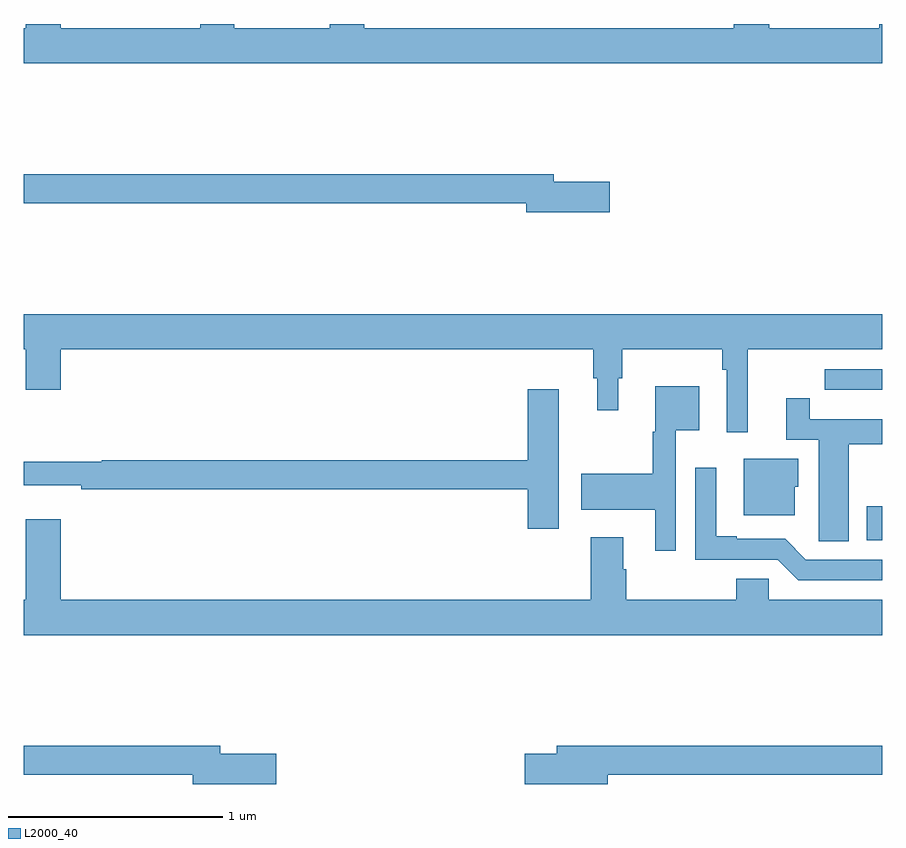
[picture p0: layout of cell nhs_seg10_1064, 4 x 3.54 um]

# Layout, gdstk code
import gdstk
lib = gdstk.Library(unit=1e-6, precision=1e-09)
def R(c, l, rs):  # rectangles x0, y0, x1, y1
    for r in rs: c.add(gdstk.rectangle(r[:2], r[2:], *l))
def P(c, l, *ps):  # polygons
    for p in ps: c.add(gdstk.Polygon(p, *l))
L2000_40 = (2000, 40)

nhs_seg10_1064 = lib.new_cell('nhs_seg10_1064')
R(nhs_seg10_1064, L2000_40, [(168.929,1298.093,169,1298.253)])
P(nhs_seg10_1064, L2000_40, [(169,1300.5),(168.986,1300.5),(168.986,1300.48),(168.473,1300.48),(168.473,1300.5),(168.308,1300.5),(168.308,1300.48),(166.586,1300.48),(166.586,1300.5),(166.426,1300.5),(166.426,1300.48),(165.981,1300.48),(165.981,1300.5),(165.821,1300.5),(165.821,1300.48),(165.172,1300.48),(165.172,1300.5),(165.008,1300.5),(165.008,1300.48),(165,1300.48),(165,1300.316),(169,1300.316)],
  [(167.731,1299.764),(167.47,1299.764),(167.47,1299.8),(165,1299.8),(165,1299.664),(167.342,1299.664),(167.342,1299.622),(167.731,1299.622)],
  [(168.374,1298.984),(169,1298.984),(169,1299.148),(165,1299.148),(165,1298.984),(165.008,1298.984),(165.008,1298.796),(165.172,1298.796),(165.172,1298.984),(167.653,1298.984),(167.653,1298.85),(167.672,1298.85),(167.672,1298.7),(167.77,1298.7),(167.77,1298.85),(167.789,1298.85),(167.789,1298.984),(168.256,1298.984),(168.256,1298.888),(168.276,1298.888),(168.276,1298.598),(168.374,1298.598)],
  [(169,1298.892),(168.732,1298.892),(168.732,1298.796),(168.844,1298.796),(168.844,1298.795),(169,1298.795)],
  [(168.039,1298.606),(168.148,1298.606),(168.148,1298.812),(167.942,1298.812),(167.942,1298.6),(167.931,1298.6),(167.931,1298.403),(167.598,1298.403),(167.598,1298.237),(167.942,1298.237),(167.942,1298.046),(168.039,1298.046)],
  [(167.494,1298.797),(167.348,1298.797),(167.348,1298.468),(165.364,1298.468),(165.364,1298.461),(165,1298.461),(165,1298.351),(165.268,1298.351),(165.268,1298.332),(167.348,1298.332),(167.348,1298.148),(167.494,1298.148)],
  [(168.844,1298.542),(169,1298.542),(169,1298.658),(168.662,1298.658),(168.662,1298.755),(168.554,1298.755),(168.554,1298.562),(168.704,1298.562),(168.704,1298.2),(168.705,1298.2),(168.705,1298.089),(168.844,1298.089)],
  [(168.592,1298.343),(168.61,1298.343),(168.61,1298.473),(168.356,1298.473),(168.356,1298.21),(168.592,1298.21)],
  [(169,1298.004),(168.645,1298.004),(168.549,1298.1),(168.322,1298.1),(168.322,1298.113),(168.226,1298.113),(168.226,1298.431),(168.129,1298.431),(168.129,1298.004),(168.513,1298.004),(168.609,1297.908),(169,1297.908)],
  [(169,1297.816),(168.471,1297.816),(168.471,1297.914),(168.32,1297.914),(168.32,1297.816),(167.807,1297.816),(167.807,1297.958),(167.794,1297.958),(167.794,1298.107),(167.642,1298.107),(167.642,1297.816),(165.172,1297.816),(165.172,1298.191),(165.008,1298.191),(165.008,1297.816),(165,1297.816),(165,1297.652),(169,1297.652)],
  [(166.177,1297.1),(165.916,1297.1),(165.916,1297.136),(165,1297.136),(165,1297),(165.788,1297),(165.788,1296.958),(166.177,1296.958)],
  [(167.722,1297),(169,1297),(169,1297.136),(167.483,1297.136),(167.483,1297.1),(167.334,1297.1),(167.334,1296.958),(167.722,1296.958)])

lib.write_gds('nhs_seg10_1064.gds')
